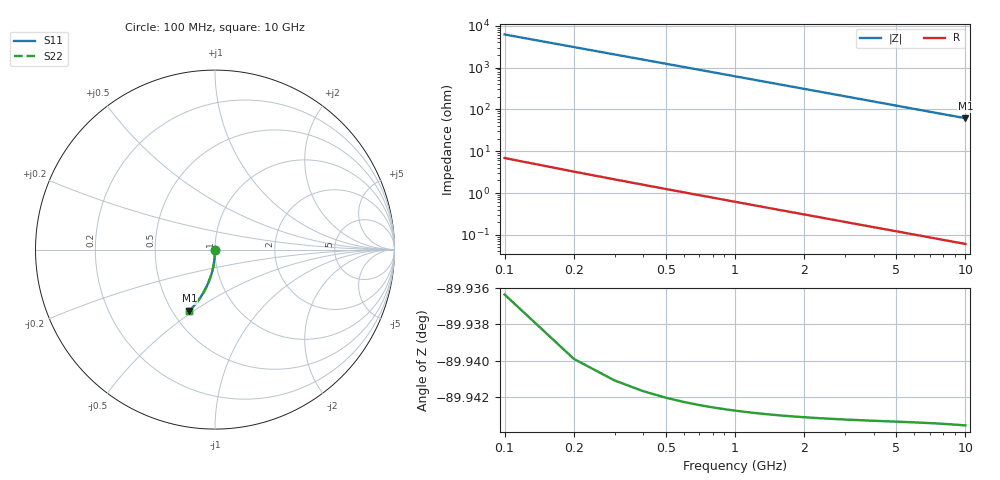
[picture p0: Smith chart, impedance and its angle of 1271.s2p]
# Hz S RI R 50.00
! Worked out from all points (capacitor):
!   100 points, 100 MHz to 10 GHz, reference 50 ohm
!   read as one part in shunt: C = 257 fF near 100 MHz
!   lowest |Z| = 61.5 ohm at 10 GHz (marker M1)
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1e8  -4.29e-06 -0.00396  1 -0.00413  1 -0.00413  -4.29e-06 -0.00396
2e8  -5.72e-05 -0.00791  0.9999 -0.00826  0.9999 -0.00826  -5.72e-05 -0.00791
3e8  -0.000143 -0.0119  0.9998 -0.0124  0.9998 -0.0124  -0.000143 -0.0119
4e8  -0.000261 -0.0158  0.9997 -0.0165  0.9997 -0.0165  -0.000261 -0.0158
5e8  -0.000412 -0.0198  0.9996 -0.0206  0.9996 -0.0206  -0.000412 -0.0198
6e8  -0.000595 -0.0237  0.9994 -0.0248  0.9994 -0.0248  -0.000595 -0.0237
7e8  -0.000812 -0.0277  0.9992 -0.0289  0.9992 -0.0289  -0.000812 -0.0277
8e8  -0.00106 -0.0316  0.9989 -0.033  0.9989 -0.033  -0.00106 -0.0316
9e8  -0.00134 -0.0356  0.9986 -0.0371  0.9986 -0.0371  -0.00134 -0.0356
1.1e9  -0.002 -0.0435  0.998 -0.0453  0.998 -0.0453  -0.002 -0.0435
1.4e9  -0.00324 -0.0553  0.9967 -0.0577  0.9967 -0.0577  -0.00324 -0.0553
1.8e9  -0.00533 -0.0709  0.9946 -0.074  0.9946 -0.074  -0.00533 -0.0709
2.1e9  -0.00724 -0.0826  0.9927 -0.0862  0.9927 -0.0862  -0.00724 -0.0826
2.5e9  -0.0102 -0.0981  0.9897 -0.1024  0.9897 -0.1024  -0.0102 -0.0981
2.9e9  -0.0137 -0.1134  0.9862 -0.1184  0.9862 -0.1184  -0.0137 -0.1134
3.4e9  -0.0188 -0.1323  0.9812 -0.1382  0.9812 -0.1382  -0.0188 -0.1323
4.2e9  -0.0284 -0.162  0.9716 -0.1693  0.9716 -0.1693  -0.0284 -0.162
5.1e9  -0.0413 -0.1942  0.9586 -0.203  0.9586 -0.203  -0.0413 -0.1942
5.9e9  -0.0546 -0.2216  0.9453 -0.2319  0.9453 -0.2319  -0.0546 -0.2216
6.7e9  -0.0694 -0.2478  0.9305 -0.2595  0.9305 -0.2595  -0.0694 -0.2478
8.4e9  -0.105 -0.2988  0.8948 -0.3136  0.8948 -0.3136  -0.105 -0.2988
1e10  -0.1427 -0.3405  0.8571 -0.3583  0.8571 -0.3583  -0.1427 -0.3405
